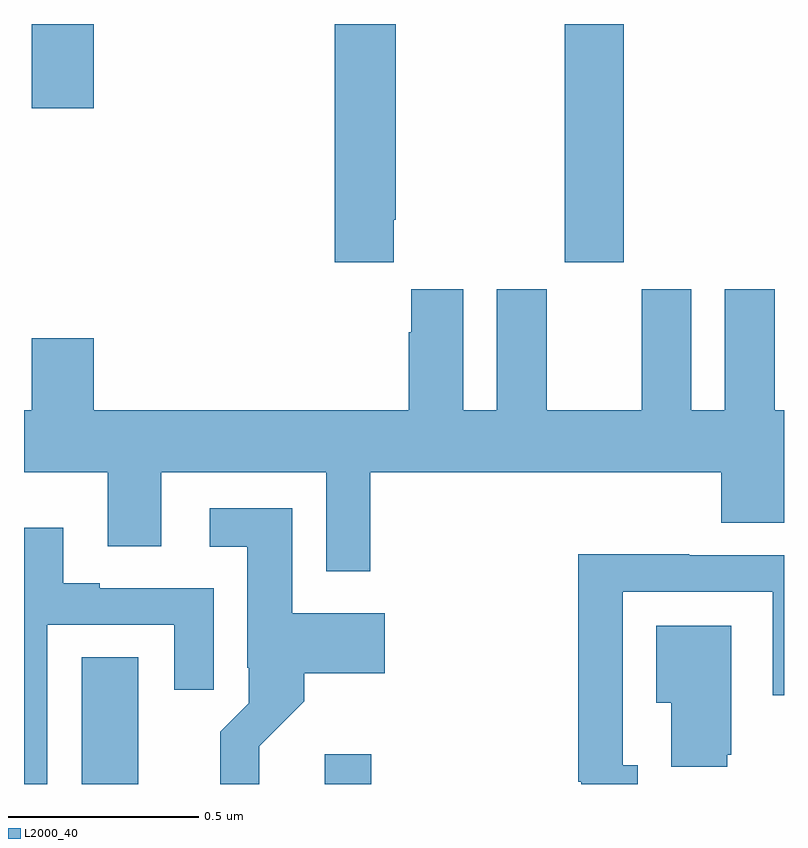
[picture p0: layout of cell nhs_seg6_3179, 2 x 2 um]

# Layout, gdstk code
import gdstk
lib = gdstk.Library(unit=1e-6, precision=1e-09)
def R(c, l, rs):  # rectangles x0, y0, x1, y1
    for r in rs: c.add(gdstk.rectangle(r[:2], r[2:], *l))
def P(c, l, *ps):  # polygons
    for p in ps: c.add(gdstk.Polygon(p, *l))
L2000_40 = (2000, 40)

nhs_seg6_3179 = lib.new_cell('nhs_seg6_3179')
R(nhs_seg6_3179, L2000_40, [(153.152,962.5,153.301,962.834), (153.791,962.5,153.914,962.578), (154.423,963.873,154.578,964.5), (153.02,964.278,153.184,964.5)])
P(nhs_seg6_3179, L2000_40, [(153.973,963.985),(153.978,963.985),(153.978,964.5),(153.818,964.5),(153.818,963.873),(153.973,963.873)],
  [(153.911,963.32),(154.835,963.32),(154.835,963.187),(155,963.187),(155,963.484),(154.975,963.484),(154.975,963.802),(154.844,963.802),(154.844,963.484),(154.756,963.484),(154.756,963.802),(154.625,963.802),(154.625,963.484),(154.375,963.484),(154.375,963.802),(154.244,963.802),(154.244,963.484),(154.156,963.484),(154.156,963.802),(154.019,963.802),(154.019,963.689),(154.013,963.689),(154.013,963.484),(153.184,963.484),(153.184,963.673),(153.02,963.673),(153.02,963.484),(153,963.484),(153,963.32),(153.221,963.32),(153.221,963.126),(153.361,963.126),(153.361,963.32),(153.795,963.32),(153.795,963.06),(153.911,963.06)],
  [(153.619,962.6),(153.737,962.718),(153.737,962.792),(153.949,962.792),(153.949,962.95),(153.706,962.95),(153.706,963.226),(153.489,963.226),(153.489,963.125),(153.587,963.125),(153.587,962.806),(153.591,962.806),(153.591,962.712),(153.517,962.638),(153.517,962.5),(153.619,962.5)],
  [(153.061,962.919),(153.395,962.919),(153.395,962.748),(153.499,962.748),(153.499,963.015),(153.199,963.015),(153.199,963.028),(153.103,963.028),(153.103,963.175),(153,963.175),(153,962.5),(153.061,962.5)],
  [(154.615,962.55),(154.575,962.55),(154.575,963.006),(154.971,963.006),(154.971,962.733),(155,962.733),(155,963.102),(154.751,963.102),(154.751,963.104),(154.459,963.104),(154.459,962.506),(154.467,962.506),(154.467,962.5),(154.615,962.5)],
  [(154.85,962.577),(154.861,962.577),(154.861,962.917),(154.664,962.917),(154.664,962.714),(154.703,962.714),(154.703,962.546),(154.85,962.546)])

lib.write_gds('nhs_seg6_3179.gds')
